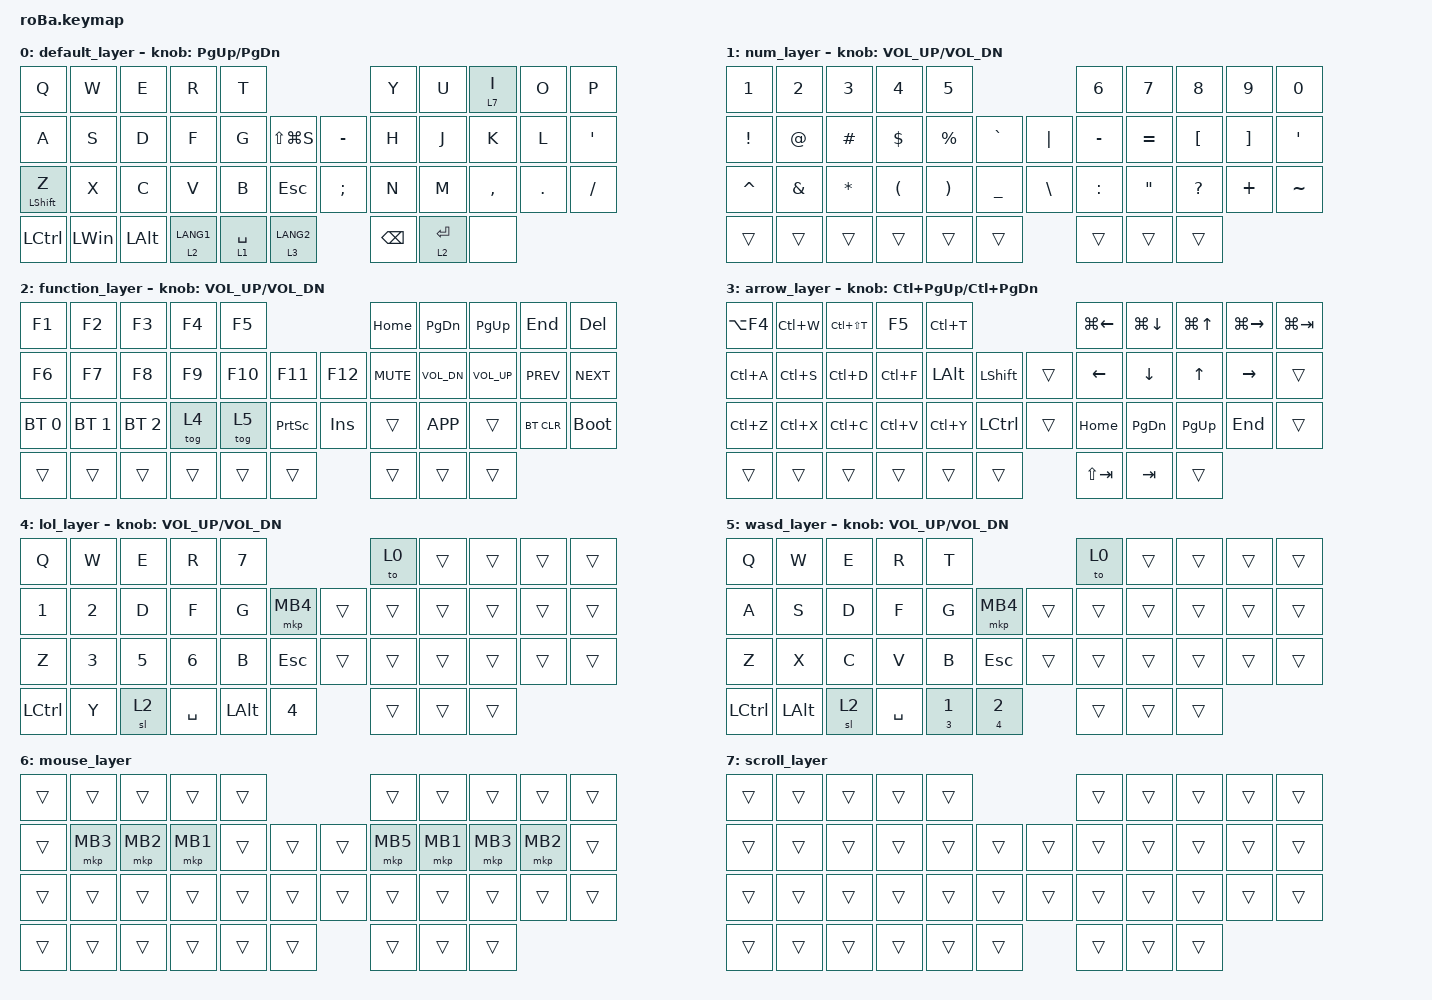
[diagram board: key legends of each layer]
/*
 * roBa キーマップ — Cornix LP（48キー・Vial）と操作感をそろえた版
 *
 * 2026-08-07 改訂。設計の根拠は docs/要件-Cornixとそろえる.md
 *
 * 面（覚えるのは 0〜5 の6つ。6・7 はトラックボールが自動で切り替える）
 *   0 通常 / 1 数字記号（左親指まんなか 長押し） / 2 機能（右親指まんなか 長押し）
 *   3 矢印・移動（左親指いちばん外 長押し） / 4 LoL / 5 WASD系 / 6 マウス / 7 スクロール
 *
 * 🔴 日本語入力は LANG1（日本語にする）/ LANG2（英語にする）を使う。
 *    無変換・変換はこのPCでは信号が届かない（Windows が英語101/102として扱うため）。
 *
 * 矢印は hjkl 方式（矢印の面で H=← J=↓ K=↑ L=→）。
 * 同じ面で左手がまるごと修飾キーになるので、Ctrl+Shift+→ が指1本ずつで押せる。
 */

#include <behaviors.dtsi>
#include <dt-bindings/zmk/bt.h>
#include <dt-bindings/zmk/keys.h>
#include <dt-bindings/zmk/pointing.h>

&mt {
    flavor = "balanced";
    quick-tap-ms = <0>;
};

&trackball {
    automouse-layer = <6>;
    scroll-layers = <7>;
};

/ {
    combos {
        compatible = "zmk,combos";

        // S + D の同時押しで Tab（roBa には一番外の列が無いため）
        tab {
            bindings = <&kp TAB>;
            key-positions = <11 12>;
        };

        // D + F の同時押しで Shift+Tab
        shift_tab {
            bindings = <&kp LS(TAB)>;
            key-positions = <12 13>;
        };

        // A + S の同時押しで、どの面にいても通常の面へ戻って英語入力にする
        to_base_eng {
            bindings = <&to_layer_0 LANG2>;
            key-positions = <11 10>;
        };

        // 🔴 ことりの呼び出し（マウスの「戻る」ボタン）。J+K は右手ホームの
        //    中指と薬指なので、押しっぱなしにしても指が疲れない。
        //    require-prior-idle-ms: 文章を打っている最中は発動しない（誤爆よけ）
        //    slow-release: 両方離すまで押しっぱなしのまま（喋っている途中で切れない）
        kotori {
            bindings = <&mkp MB4>;
            key-positions = <18 19>;
            timeout-ms = <50>;
            require-prior-idle-ms = <150>;
            slow-release;
            // ゲームの面(4・5)では無効。右手はマウスにあり届かないうえ、
            // ゲーム側の操作と紛れる。ゲーム中は G の右隣（左手）を使う
            layers = <0 1 2 3>;
        };

        double_quotation {
            bindings = <&kp DOUBLE_QUOTES>;
            key-positions = <20 21>;
        };

        eq {
            bindings = <&kp EQUAL>;
            key-positions = <24 25>;
        };
    };

    macros {
        to_layer_0: to_layer_0 {
            compatible = "zmk,behavior-macro-one-param";
            #binding-cells = <1>;
            bindings = <&to 0 &macro_param_1to1 &kp MACRO_PLACEHOLDER>;
            label = "TO_LAYER_0";
        };
    };

    behaviors {
        lt_to_layer_0: lt_to_layer_0 {
            compatible = "zmk,behavior-hold-tap";
            label = "LAYER_TAP_TO_0";
            bindings = <&mo>, <&to_layer_0>;
            #binding-cells = <2>;
            tapping-term-ms = <200>;
        };

        // 親指の押し分け: 軽く押す＝1・2 ／ 押し続ける＝3・4
        // WASD を押しっぱなしにするゲームで、指を動かさずキャラを切り替えるため
        num_ht: num_ht {
            compatible = "zmk,behavior-hold-tap";
            label = "NUM_HOLD_TAP";
            bindings = <&kp>, <&kp>;
            #binding-cells = <2>;
            tapping-term-ms = <200>;
            flavor = "tap-preferred";
        };
    };

    keymap {
        compatible = "zmk,keymap";

        /* ───────── 0. 通常 ─────────
           左親指: 日本語 / Space(長押し=数字記号) / 英語(長押し=矢印)
           右親指: BS（内側） / Enter（外側・長押しで機能の面）
           ⚠ 右下のいちばん外（`/` の真下）のキーは実機に無い。
              定義上は残っているが押せないので、Del は機能の面から使う
           Z を押しっぱなしで Shift、S+D の同時押しで Tab（D+F で Shift+Tab）*/
        default_layer {
            bindings = <
&kp Q             &kp W         &kp E         &kp R          &kp T                                        &kp Y        &kp U        &lt 7 I     &kp O      &kp P
&kp A             &kp S         &kp D         &kp F          &kp G          &kp LS(LG(S)) &kp MINUS        &kp H        &kp J        &kp K       &kp L      &kp SQT
&mt LEFT_SHIFT Z  &kp X         &kp C         &kp V          &kp B          &kp ESC      &kp SEMICOLON    &kp N        &kp M        &kp COMMA   &kp DOT    &kp SLASH
&kp LCTRL         &kp LEFT_WIN  &kp LEFT_ALT  &lt 2 LANG1    &lt 1 SPACE    &lt_to_layer_0 3 LANG2         &kp BSPC     &lt 2 ENTER  &none   // ← 右下の外側は実機に無い
            >;

            sensor-bindings = <&inc_dec_kp PG_UP PAGE_DOWN>;
        };

        /* ───────── 1. 数字と記号（左親指まんなか 長押し）─────────
           Cornix と同じ並び。1の下が「!」、2の下が「@」               */
        num_layer {
            bindings = <
&kp N1        &kp N2        &kp N3        &kp N4            &kp N5                                            &kp N6         &kp N7         &kp N8            &kp N9          &kp N0
&kp EXCL      &kp AT        &kp HASH      &kp DOLLAR        &kp PERCENT     &kp GRAVE      &kp PIPE           &kp MINUS      &kp EQUAL      &kp LBKT          &kp RBKT        &kp SQT
&kp CARET     &kp AMPS      &kp ASTRK     &kp LPAR          &kp RPAR        &kp UNDER      &kp BSLH           &kp COLON      &kp DQT        &kp QMARK         &kp PLUS        &kp TILDE
&trans        &trans        &trans        &trans            &trans          &trans                            &trans         &trans         &trans
            >;

            // つまみ: 音量
            sensor-bindings = <&inc_dec_kp C_VOL_UP C_VOL_DN>;
        };

        /* ───────── 2. 機能（右親指まんなか 長押し／左親指の日本語キー 長押し）─────────
           F1〜F12 は左手。ゲーム中も左手だけで届く                      */
        function_layer {
            bindings = <
&kp F1        &kp F2        &kp F3        &kp F4            &kp F5                                            &kp HOME       &kp PG_DN      &kp PG_UP         &kp END         &kp DEL
&kp F6        &kp F7        &kp F8        &kp F9            &kp F10         &kp F11        &kp F12            &kp C_MUTE     &kp C_VOL_DN   &kp C_VOL_UP      &kp C_PREV      &kp C_NEXT
&bt BT_SEL 0  &bt BT_SEL 1  &bt BT_SEL 2  &tog 4            &tog 5          &kp PSCRN      &kp INS            &trans         &kp K_APP      &trans            &bt BT_CLR      &bootloader
&trans        &trans        &trans        &trans            &trans          &trans                            &trans         &trans         &trans
            >;

            // つまみ: 音量
            sensor-bindings = <&inc_dec_kp C_VOL_UP C_VOL_DN>;
        };

        /* ───────── 3. 移動とショートカットの面（左親指いちばん外 長押し）─────────
           🔴 設計の考え方: 「Ctrl を押しながら使う文字」を、その文字の上にそのまま置く。
              覚え直しが要らない（A=全選択 / S=保存 / F=検索 / Z=元に戻す / C=コピー …）

           左手 上段  Q W E R T = 窓とタブ（閉じる・タブを閉じる・タブを戻す・再読込・新しいタブ）
           左手 ホーム A S D F = 全選択・保存・お気に入り・検索
           左手 下段  Z X C V B = 元に戻す・切り取り・コピー・貼り付け・やり直し
           右手 上段  = 窓を左半分／最小化／最大化／右半分／タスクビュー（下の矢印と同じ向き）
           右手 ホーム H J K L = ← ↓ ↑ →

           🔴 修飾キーは左手の人差し指まわりに集めた（一番下の段からも通るが、
              親指で面を出したまま押すには遠かったため）:
                G の位置 = Alt / G の右隣 = Shift / B の右隣 = Ctrl

           🔴 右の親指2つが Tab。内側＝Shift＋Tab、外側＝Tab。
             ・Shift＋Tab は左親指と右親指の2つだけで出る（よく使うので単独化）
             ・窓の切り替え（Alt＋Tab）= 左親指で面 → 左人差し指 G で Alt
               → 右の親指で Tab を連打 → そのまま右手 hjkl で選ぶ
               押す指がすべて別なので、Alt を押したまま Tab も矢印も使える     */
        arrow_layer {
            bindings = <
&kp LA(F4)    &kp LC(W)     &kp LC(LS(T)) &kp F5            &kp LC(T)                                         &kp LG(LEFT)   &kp LG(DOWN)   &kp LG(UP)        &kp LG(RIGHT)   &kp LG(TAB)
&kp LC(A)     &kp LC(S)     &kp LC(D)     &kp LC(F)         &kp LALT        &kp LSHFT      &trans             &kp LEFT       &kp DOWN       &kp UP            &kp RIGHT       &trans
&kp LC(Z)     &kp LC(X)     &kp LC(C)     &kp LC(V)         &kp LC(Y)       &kp LCTRL      &trans             &kp HOME       &kp PG_DN      &kp PG_UP         &kp END         &trans
&trans        &trans        &trans        &trans            &trans          &trans                            &kp LS(TAB)    &kp TAB        &trans
            >;

            sensor-bindings = <&inc_dec_kp LC(PAGE_UP) LC(PAGE_DOWN)>;
        };

        /* ───────── 4. LoL（機能の面から入り、右手いちばん内側で戻る）─────────
           持ち物 1〜7。よく押す 1・2 はホームの段、4（ワード）は親指     */
        lol_layer {
            bindings = <
&kp Q         &kp W         &kp E         &kp R             &kp N7                                            &to 0          &trans         &trans            &trans          &trans
&kp N1        &kp N2        &kp D         &kp F             &kp G           &mkp MB4       &trans             &trans         &trans         &trans            &trans          &trans
&kp Z         &kp N3        &kp N5        &kp N6            &kp B           &kp ESC        &trans             &trans         &trans         &trans            &trans          &trans
&kp LCTRL     &kp Y         &sl 2         &kp SPACE         &kp LALT        &kp N4                            &trans         &trans         &trans
            >;

            // つまみ: 音量（ゲーム中に音を変えたい）
            sensor-bindings = <&inc_dec_kp C_VOL_UP C_VOL_DN>;
        };

        /* ───────── 5. WASD系（原神・鳴潮・ゼンレス・スターレイル）─────────
           文字キーを1つも潰さない。1・2 は親指、押し続けると 3・4       */
        wasd_layer {
            bindings = <
&kp Q         &kp W         &kp E         &kp R             &kp T                                             &to 0          &trans         &trans            &trans          &trans
&kp A         &kp S         &kp D         &kp F             &kp G           &mkp MB4       &trans             &trans         &trans         &trans            &trans          &trans
&kp Z         &kp X         &kp C         &kp V             &kp B           &kp ESC        &trans             &trans         &trans         &trans            &trans          &trans
&kp LCTRL     &kp LALT      &sl 2         &kp SPACE         &num_ht N3 N1   &num_ht N4 N2                     &trans         &trans         &trans
            >;

            // つまみ: 音量（ゲーム中に音を変えたい）
            sensor-bindings = <&inc_dec_kp C_VOL_UP C_VOL_DN>;
        };

        /* ───────── 6. マウス（トラックボールを動かすと自動）─────────
           🔴 クリックは左手に置く。玉のある右側で押すと、押した拍子に
              玉が動いて座標がずれるため、押す手と指す手を分ける。
              S=中クリック / D=右クリック / F=左クリック（マウスと同じ指の並び）
              F を押しっぱなしのまま玉を転がせばドラッグになる。
           ⚠ この面は「玉を動かしてから CONFIG_PMW3610_AUTOMOUSE_TIMEOUT_MS」の
              間だけ有効。キーを押しても延びない（ドライバの実装で確認）。
              間が空いたら玉を少し動かしてから押すこと。
           ⚠ 右側のボタンも残してある（使わなくてよい。念のための予備）  */
        mouse_layer {
            bindings = <
&trans        &trans        &trans        &trans            &trans                                            &trans         &trans         &trans            &trans          &trans
&trans        &mkp MB3      &mkp MB2      &mkp MB1          &trans          &trans         &trans             &mkp MB5       &mkp MB1       &mkp MB3          &mkp MB2        &trans
&trans        &trans        &trans        &trans            &trans          &trans         &trans             &trans         &trans         &trans            &trans          &trans
&trans        &trans        &trans        &trans            &trans          &trans                            &trans         &trans         &trans
            >;
        };

        /* ───────── 7. スクロール（I を押しながら）───────── */
        scroll_layer {
            bindings = <
&trans        &trans        &trans        &trans            &trans                                            &trans         &trans         &trans            &trans          &trans
&trans        &trans        &trans        &trans            &trans          &trans         &trans             &trans         &trans         &trans            &trans          &trans
&trans        &trans        &trans        &trans            &trans          &trans         &trans             &trans         &trans         &trans            &trans          &trans
&trans        &trans        &trans        &trans            &trans          &trans                            &trans         &trans         &trans
            >;
        };
    };
};
